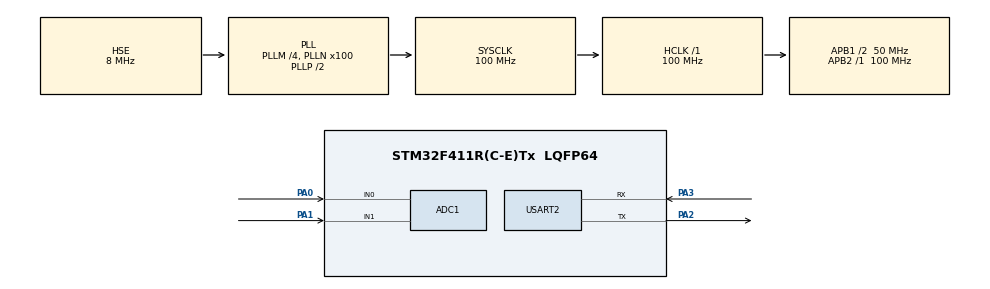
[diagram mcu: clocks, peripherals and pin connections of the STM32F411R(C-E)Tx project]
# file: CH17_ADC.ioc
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ADC1.Channel-0\#ChannelRegularConversion=ADC_CHANNEL_0
ADC1.Channel-2\#ChannelRegularConversion=ADC_CHANNEL_1
ADC1.ContinuousConvMode=ENABLE
ADC1.DMAContinuousRequests=ENABLE
ADC1.DiscontinuousConvMode=DISABLE
ADC1.NbrOfConversion=2
ADC1.NbrOfConversionFlag=1
ADC1.Rank-0\#ChannelRegularConversion=1
ADC1.Rank-2\#ChannelRegularConversion=2
ADC1.SamplingTime-0\#ChannelRegularConversion=ADC_SAMPLETIME_480CYCLES
ADC1.SamplingTime-2\#ChannelRegularConversion=ADC_SAMPLETIME_480CYCLES
ADC1.ScanConvMode=ENABLE
ADC1.master=1
Dma.ADC1.0.Direction=DMA_PERIPH_TO_MEMORY
Dma.ADC1.0.FIFOMode=DMA_FIFOMODE_DISABLE
Dma.ADC1.0.Instance=DMA2_Stream0
Dma.ADC1.0.MemDataAlignment=DMA_MDATAALIGN_HALFWORD
Dma.ADC1.0.MemInc=DMA_MINC_ENABLE
Dma.ADC1.0.Mode=DMA_CIRCULAR
Dma.ADC1.0.PeriphDataAlignment=DMA_PDATAALIGN_HALFWORD
Dma.ADC1.0.PeriphInc=DMA_PINC_DISABLE
Dma.ADC1.0.Priority=DMA_PRIORITY_LOW
Dma.Request0=ADC1
Mcu.Family=STM32F4
Mcu.Name=STM32F411R(C-E)Tx
Mcu.Package=LQFP64
NVIC.ADC_IRQn=true\:0\:0\:false\:false\:true\:true\:true\:true
NVIC.DMA2_Stream0_IRQn=true\:0\:0\:false\:false\:true\:false\:true\:true
NVIC.PriorityGroup=NVIC_PRIORITYGROUP_4
PA0-WKUP.Signal=ADCx_IN0
PA1.Signal=ADCx_IN1
PA13.Mode=Serial_Wire
PA13.Signal=SYS_JTMS-SWDIO
PA14.Mode=Serial_Wire
PA14.Signal=SYS_JTCK-SWCLK
PA2.Mode=Asynchronous
PA2.Signal=USART2_TX
PA3.Mode=Asynchronous
PA3.Signal=USART2_RX
PH0\ -\ OSC_IN.Mode=HSE-External-Oscillator
PH0\ -\ OSC_IN.Signal=RCC_OSC_IN
PH1\ -\ OSC_OUT.Mode=HSE-External-Oscillator
PH1\ -\ OSC_OUT.Signal=RCC_OSC_OUT
ProjectManager.HeapSize=0x200
ProjectManager.StackSize=0x400
ProjectManager.TargetToolchain=STM32CubeIDE
RCC.48MHZClocksFreq_Value=50000000
RCC.AHBFreq_Value=100000000
RCC.APB1CLKDivider=RCC_HCLK_DIV2
RCC.APB1Freq_Value=50000000
RCC.APB1TimFreq_Value=100000000
RCC.APB2Freq_Value=100000000
RCC.APB2TimFreq_Value=100000000
RCC.CortexFreq_Value=100000000
RCC.HCLKFreq_Value=100000000
RCC.HSE_VALUE=8000000
RCC.HSI_VALUE=16000000
RCC.LSE_VALUE=32768
RCC.PLLM=4
RCC.PLLN=100
RCC.PLLSourceVirtual=RCC_PLLSOURCE_HSE
RCC.SYSCLKFreq_VALUE=100000000
RCC.SYSCLKSource=RCC_SYSCLKSOURCE_PLLCLK
RCC.VCOOutputFreq_Value=200000000
SH.ADCx_IN0.0=ADC1_IN0,IN0
SH.ADCx_IN1.0=ADC1_IN1,IN1
USART2.VirtualMode=VM_ASYNC
board=custom

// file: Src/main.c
/* USER CODE BEGIN Header */
/**
 ******************************************************************************
 * @file           : main.c
 * @brief          : Main program body
 ******************************************************************************
 * @attention
 *
 * Copyright (c) 2026 STMicroelectronics.
 * All rights reserved.
 *
 * This software is licensed under terms that can be found in the LICENSE file
 * in the root directory of this software component.
 * If no LICENSE file comes with this software, it is provided AS-IS.
 *
 ******************************************************************************
 */
/* USER CODE END Header */
#include "main.h"

ADC_HandleTypeDef hadc1;
DMA_HandleTypeDef hdma_adc1;

UART_HandleTypeDef huart2;

void SystemClock_Config(void);
static void MX_GPIO_Init(void);
static void MX_DMA_Init(void);
static void MX_ADC1_Init(void);
static void MX_USART2_UART_Init(void);

/* USER CODE BEGIN 0 */

#include <stdio.h>

#define ADC_CH_COUNT	2

volatile uint8_t adcCpltFlag = 0;
volatile uint16_t value[ADC_CH_COUNT] = {0};
volatile uint8_t adcIndex = 0;

int __io_putchar(int ch){
	HAL_UART_Transmit(&huart2, (uint8_t *)&ch, 1, HAL_MAX_DELAY);
	return ch;
}

void HAL_ADC_ConvCpltCallback(ADC_HandleTypeDef *hadc){
//	value[adcIndex] = HAL_ADC_GetValue(&hadc1);
//	if(adcIndex == 1){
//	}
//	adcIndex = (adcIndex + 1) % 2;
		adcCpltFlag = 1;
}

/* USER CODE END 0 */

int main(void)
{

  /* MCU Configuration--------------------------------------------------------*/

  /* Reset of all peripherals, Initializes the Flash interface and the Systick. */
  HAL_Init();

  /* Configure the system clock */
  SystemClock_Config();

  /* Initialize all configured peripherals */
  MX_GPIO_Init();
  MX_DMA_Init();
  MX_ADC1_Init();
  MX_USART2_UART_Init();
  /* USER CODE BEGIN 2 */
	printf("Hello STM32!\n");

  /* USER CODE END 2 */

  /* Infinite loop */
  /* USER CODE BEGIN WHILE */
	uint16_t pout[2];
	uint16_t vout[2];
	// method2 : Interrupt
//	HAL_ADC_Start_IT(&hadc1);
	// method3 : DMA
	HAL_ADC_Start_DMA(&hadc1, (uint32_t *)value, ADC_CH_COUNT);
	while(1)
	{
		// method1 : polling
		// rank1 measurement
		// HAL_ADC_Start(&hadc1);
		// HAL_ADC_PollForConversion(&hadc1, 1000);
		// value[0] = HAL_ADC_GetValue(&hadc1);
		//
		// rank2 measurement
		// HAL_ADC_Start(&hadc1);
		// HAL_ADC_PollForConversion(&hadc1, 1000);
		// value[1] = HAL_ADC_GetValue(&hadc1);
		//
		// HAL_ADC_Stop(&hadc1);
		//
		//
		// pout[0] = (uint16_t)((4096 - value[0]) * 100  / 4096);
		// vout[0] = (uint16_t)(value[0] * 3300  / 4096);
		// pout[1] = (uint16_t)((4096 - value[1]) * 100  / 4096);
		// vout[1] = (uint16_t)(value[1] * 3300  / 4096);
		// printf("v1 : %d, p1 : %d%%, voltage1 : %d\nv2 : %d, p2 : %d%%, voltage2 : %d\n\n", value[0], pout[0], vout[0], value[1], pout[1], vout[1]);
		//

		// method2 : Interrupt
		// rank1 measurement
		if(adcCpltFlag == 1){
			adcCpltFlag = 0;
			pout[0] = (uint16_t)((4096 - value[0]) * 100  / 4096);
			vout[0] = (uint16_t)(value[0] * 3300  / 4096);
			pout[1] = (uint16_t)((4096 - value[1]) * 100  / 4096);
			vout[1] = (uint16_t)(value[1] * 3300  / 4096);
			printf("v1 : %d, p1 : %d%%, voltage1 : %d\nv2 : %d, p2 : %d%%, voltage2 : %d\n\n", value[0], pout[0], vout[0], value[1], pout[1], vout[1]);
		}
		HAL_Delay(500);

    /* USER CODE END WHILE */

	}
}

void SystemClock_Config(void)
{
  RCC_OscInitTypeDef RCC_OscInitStruct = {0};
  RCC_ClkInitTypeDef RCC_ClkInitStruct = {0};

  /** Configure the main internal regulator output voltage
  */
  __HAL_RCC_PWR_CLK_ENABLE();
  __HAL_PWR_VOLTAGESCALING_CONFIG(PWR_REGULATOR_VOLTAGE_SCALE1);

  /** Initializes the RCC Oscillators according to the specified parameters
  * in the RCC_OscInitTypeDef structure.
  */
  RCC_OscInitStruct.OscillatorType = RCC_OSCILLATORTYPE_HSE;
  RCC_OscInitStruct.HSEState = RCC_HSE_ON;
  RCC_OscInitStruct.PLL.PLLState = RCC_PLL_ON;
  RCC_OscInitStruct.PLL.PLLSource = RCC_PLLSOURCE_HSE;
  RCC_OscInitStruct.PLL.PLLM = 4;
  RCC_OscInitStruct.PLL.PLLN = 100;
  RCC_OscInitStruct.PLL.PLLP = RCC_PLLP_DIV2;
  RCC_OscInitStruct.PLL.PLLQ = 4;
  if (HAL_RCC_OscConfig(&RCC_OscInitStruct) != HAL_OK)
  {
    Error_Handler();
  }

  /** Initializes the CPU, AHB and APB buses clocks
  */
  RCC_ClkInitStruct.ClockType = RCC_CLOCKTYPE_HCLK|RCC_CLOCKTYPE_SYSCLK
                              |RCC_CLOCKTYPE_PCLK1|RCC_CLOCKTYPE_PCLK2;
  RCC_ClkInitStruct.SYSCLKSource = RCC_SYSCLKSOURCE_PLLCLK;
  RCC_ClkInitStruct.AHBCLKDivider = RCC_SYSCLK_DIV1;
  RCC_ClkInitStruct.APB1CLKDivider = RCC_HCLK_DIV2;
  RCC_ClkInitStruct.APB2CLKDivider = RCC_HCLK_DIV1;

  if (HAL_RCC_ClockConfig(&RCC_ClkInitStruct, FLASH_LATENCY_3) != HAL_OK)
  {
    Error_Handler();
  }
}

static void MX_ADC1_Init(void)
{

  ADC_ChannelConfTypeDef sConfig = {0};

  /** Configure the global features of the ADC (Clock, Resolution, Data Alignment and number of conversion)
  */
  hadc1.Instance = ADC1;
  hadc1.Init.ClockPrescaler = ADC_CLOCK_SYNC_PCLK_DIV4;
  hadc1.Init.Resolution = ADC_RESOLUTION_12B;
  hadc1.Init.ScanConvMode = ENABLE;
  hadc1.Init.ContinuousConvMode = ENABLE;
  hadc1.Init.DiscontinuousConvMode = DISABLE;
  hadc1.Init.ExternalTrigConvEdge = ADC_EXTERNALTRIGCONVEDGE_NONE;
  hadc1.Init.ExternalTrigConv = ADC_SOFTWARE_START;
  hadc1.Init.DataAlign = ADC_DATAALIGN_RIGHT;
  hadc1.Init.NbrOfConversion = 2;
  hadc1.Init.DMAContinuousRequests = ENABLE;
  hadc1.Init.EOCSelection = ADC_EOC_SINGLE_CONV;
  if (HAL_ADC_Init(&hadc1) != HAL_OK)
  {
    Error_Handler();
  }

  /** Configure for the selected ADC regular channel its corresponding rank in the sequencer and its sample time.
  */
  sConfig.Channel = ADC_CHANNEL_0;
  sConfig.Rank = 1;
  sConfig.SamplingTime = ADC_SAMPLETIME_480CYCLES;
  if (HAL_ADC_ConfigChannel(&hadc1, &sConfig) != HAL_OK)
  {
    Error_Handler();
  }

  /** Configure for the selected ADC regular channel its corresponding rank in the sequencer and its sample time.
  */
  sConfig.Channel = ADC_CHANNEL_1;
  sConfig.Rank = 2;
  if (HAL_ADC_ConfigChannel(&hadc1, &sConfig) != HAL_OK)
  {
    Error_Handler();
  }

}

static void MX_USART2_UART_Init(void)
{

  huart2.Instance = USART2;
  huart2.Init.BaudRate = 115200;
  huart2.Init.WordLength = UART_WORDLENGTH_8B;
  huart2.Init.StopBits = UART_STOPBITS_1;
  huart2.Init.Parity = UART_PARITY_NONE;
  huart2.Init.Mode = UART_MODE_TX_RX;
  huart2.Init.HwFlowCtl = UART_HWCONTROL_NONE;
  huart2.Init.OverSampling = UART_OVERSAMPLING_16;
  if (HAL_UART_Init(&huart2) != HAL_OK)
  {
    Error_Handler();
  }

}

static void MX_DMA_Init(void)
{

  /* DMA controller clock enable */
  __HAL_RCC_DMA2_CLK_ENABLE();

  /* DMA interrupt init */
  /* DMA2_Stream0_IRQn interrupt configuration */
  HAL_NVIC_SetPriority(DMA2_Stream0_IRQn, 0, 0);
  HAL_NVIC_EnableIRQ(DMA2_Stream0_IRQn);

}

static void MX_GPIO_Init(void)
{

  /* GPIO Ports Clock Enable */
  __HAL_RCC_GPIOH_CLK_ENABLE();
  __HAL_RCC_GPIOA_CLK_ENABLE();

}

void Error_Handler(void)
{
	__disable_irq();
	while (1)
	{
	}
}
